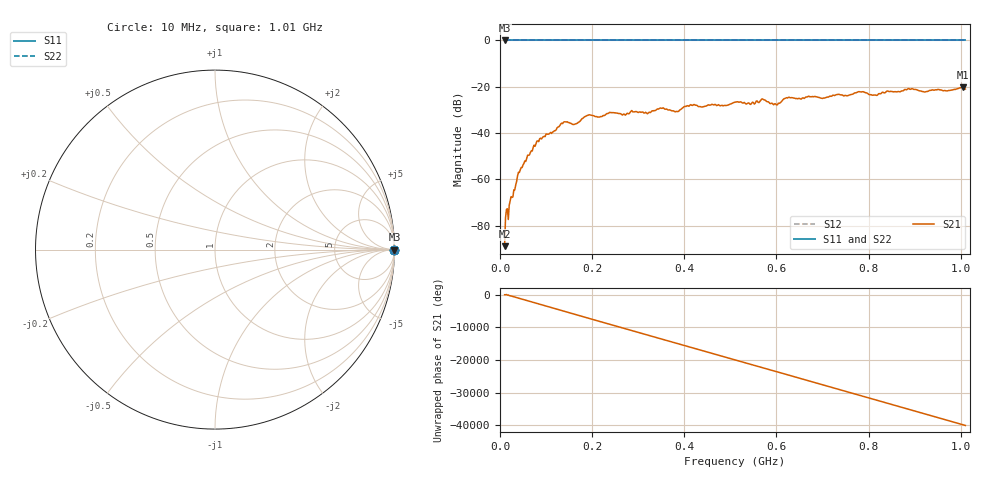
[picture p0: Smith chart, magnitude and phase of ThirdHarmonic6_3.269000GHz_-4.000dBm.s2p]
! 8/17/2025 10:06:27 AM
! C:\ANRITSUVNA\TEMP\TEMP.S2P
! CHANNEL.1
! TR.MEASUREMENT
! RAW.DATA
! RF.CORRECTION.OFF
! AVERAGING.OFF
! IF.BANDWIDTH: 5KHZ
! SWEEPTYPE:  FREQ.SWEEP(Linear)
! Reference Plane Port Info
! PORT:  PORT1  PORT2
! DISTANCE:  0  m  0  m
! TIME:  0  s  0  s
! PHASE.OFFSET:  0  deg.  0  deg.
! LOSS:  0  dB  0  dB
! REF.LOSS:  0  dB  0  dB
! REF.FREQ:  0  Hz  0  Hz
! Power Info
! POWER:  -20  dBm  -20  dBm
! EFF.POWER:  -20  dBm  -20  dBm
! SOURCE.ATTEN:  0  dB  0  dB
! TEST.ATTEN:  0  dB  0  dB
# GHZ S RI R 50.0
! FREQ.GHZ  S11RE  S11IM  S21RE  S21IM  S12RE  S12IM  S22RE  S22IM
!; PortSelection: Port_12
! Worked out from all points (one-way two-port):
!   501 points, 10 MHz to 1.01 GHz, reference 50 ohm
!   highest |S21| = -20.28 dB at 1.004 GHz (marker M1); lowest = -88.8 dB at 10 MHz (marker M2)
!   lowest |S11| = 0.0 dB at 10 MHz (marker M3)
!   |S11| at or under -10 dB: nowhere
!   |S22| runs from 0.0 to 0.0 dB; largest |S21 - S12| = 1.1
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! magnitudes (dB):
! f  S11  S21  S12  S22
! 10 MHz  0.0  -88.8  0.0  0.0
! 42 MHz  0.0  -57.0  0.0  0.0
! 78 MHz  0.0  -44.7  0.0  0.0
! 136 MHz  0.0  -35.9  0.0  0.0
! 162 MHz  0.0  -36.2  0.0  0.0
! 178 MHz  0.0  -33.8  0.0  0.0
! 192 MHz  0.0  -32.2  0.0  0.0
! 322 MHz  0.0  -31.3  0.0  0.0
! 344 MHz  0.0  -29.6  0.0  0.0
! 384 MHz  0.0  -30.7  0.0  0.0
! 416 MHz  0.0  -28.0  0.0  0.0
! 510 MHz  0.0  -26.6  0.0  0.0
! 548 MHz  0.0  -26.6  0.0  0.0
! 572 MHz  0.0  -25.5  0.0  0.0
! 598 MHz  0.0  -27.3  0.0  0.0
! 624 MHz  0.0  -24.8  0.0  0.0
! 678 MHz  0.0  -24.2  0.0  0.0
! 782 MHz  0.0  -22.2  0.0  0.0
! 814 MHz  0.0  -23.5  0.0  0.0
! 844 MHz  0.0  -22.0  0.0  0.0
! 1.004 GHz  0.0  -20.3  0.0  0.0
! 1.01 GHz  0.0  -21.0  0.0  0.0
